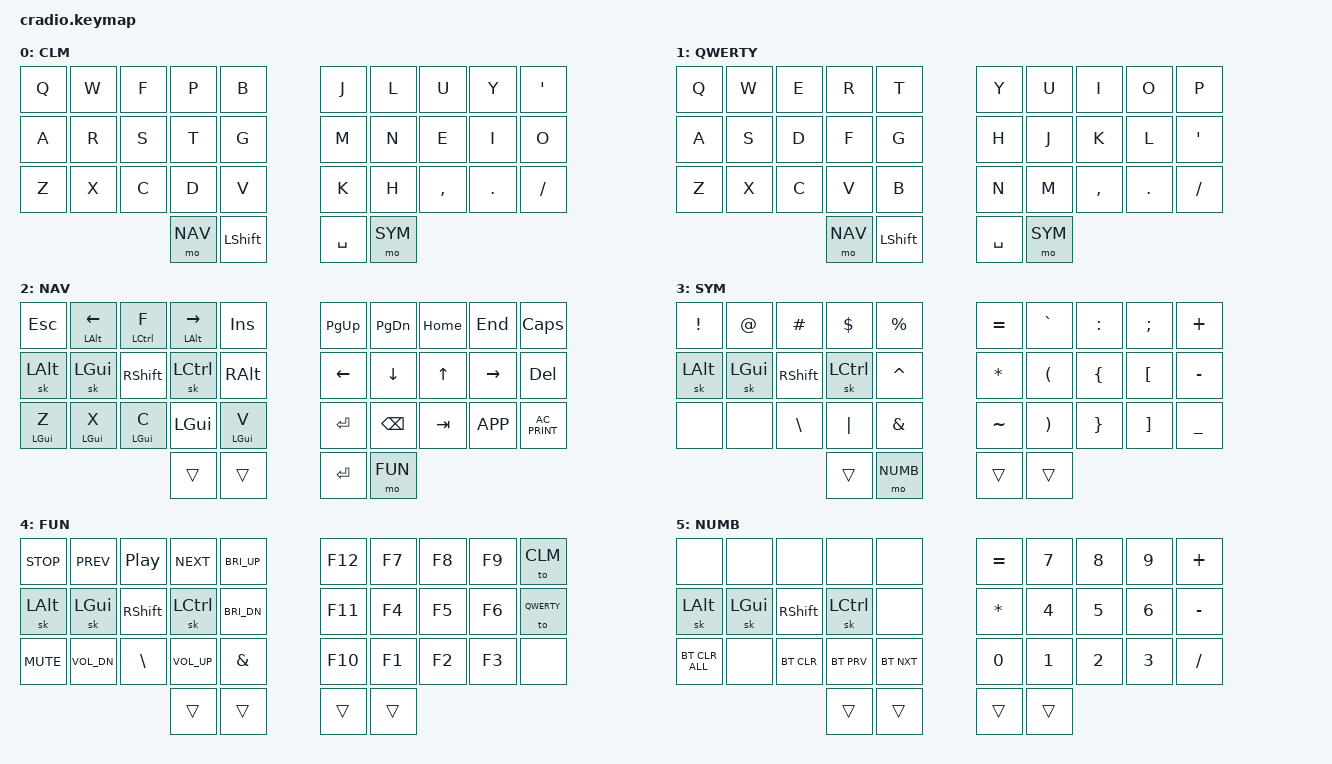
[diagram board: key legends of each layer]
/*
 * Copyright (c) 2020 The ZMK Contributors
 *
 * SPDX-License-Identifier: MIT
 *
 * Codes: https://zmk.dev/docs/codes
 */

#include <behaviors.dtsi>
#include <dt-bindings/zmk/keys.h>
#include <dt-bindings/zmk/bt.h>

// Layer aliases
#define CLM 0
#define QWERTY 1
#define NAV 2
#define SYM 3
#define FUN 4
#define NUMB 5





&mt {
  //  flavor = "tap-preferred";
   // tapping_term_ms = <200>;
};

/ { 
    behaviors {
        am: alpha_mods {
            compatible = "zmk,behavior-hold-tap";
            label = "ALPHA_MT";
            #binding-cells = <2>;
            tapping-term-ms = <250>;
            quick-tap-ms = <150>;
            flavor = "tap-preferred";
            bindings = <&kp>, <&kp>;
        };
    };
    combos {
        compatible = "zmk,combos";
        combo_esc {
            timeout-ms = <50>;
            key-positions = <0 1>;
            bindings = <&kp ESC>;
        };

         combo_tab {
            timeout-ms = <50>;
            key-positions = <10 11>;
            bindings = <&kp TAB>;
        };

            combo_ralt {
            timeout-ms = <50>;
            key-positions = <17 16>;
            bindings = <&kp RALT>;
        };

                    combo_lalt {
            timeout-ms = <50>;
            key-positions = <11 12>;
            bindings = <&kp LALT>;
        };

                           combo_lgui {
            timeout-ms = <50>;
            key-positions = <12 13>;
            bindings = <&kp LGUI>;
        };


           combo_rgui {
            timeout-ms = <50>;
            key-positions = <17 18>;
            bindings = <&kp RGUI>;
        };



    };

    keymap {
        compatible = "zmk,keymap";

        colemak_dh_layer {
            label = "CLM";
            bindings = <
        // ╭─────────────┬─────────────┬─────────────┬─────────────┬─────────────╮   ╭─────────────┬─────────────┬─────────────┬─────────────┬─────────────╮
                &kp Q       &kp W           &kp F       &kp P           &kp B 		&kp J           &kp L           &kp U         &kp Y     &kp SQT
        // ├─────────────┼─────────────┼─────────────┼─────────────┼─────────────┤   ├─────────────┼─────────────┼─────────────┼─────────────┼─────────────┤
                &kp A       &kp R           &kp S       &kp T           &kp G 		&kp M           &kp N           &kp E         &kp I     &kp O
        // ├─────────────┼─────────────┼─────────────┼─────────────┼─────────────┤   ├─────────────┼─────────────┼─────────────┼─────────────┼─────────────┤
                &kp Z      &kp X           &kp C       &kp D           &kp V		&kp K           &kp H        &kp COMMA       &kp DOT    &kp FSLH
        // ╰─────────────┴─────────────┴─────────────┼─────────────┼─────────────┤   ├─────────────┼─────────────┼─────────────┴─────────────┴─────────────╯
                                                        &mo NAV       &kp LSHIFT  	&kp SPC         &mo SYM
        //                                           ╰─────────────┴─────────────╯   ╰─────────────┴─────────────╯
            >;
        };

        qwerty_layer {
            label = "QWERTY";
            bindings = <
        // ╭─────────────┬─────────────┬─────────────┬─────────────┬─────────────╮   ╭─────────────┬─────────────┬─────────────┬─────────────┬─────────────╮
                &kp Q       &kp W           &kp E       &kp R           &kp T 		&kp Y           &kp U           &kp I         &kp O     &kp P
        // ├─────────────┼─────────────┼─────────────┼─────────────┼─────────────┤   ├─────────────┼─────────────┼─────────────┼─────────────┼─────────────┤
                &kp A       &kp S           &kp D       &kp F           &kp G 		&kp H           &kp J           &kp K         &kp L     &kp SQT
        // ├─────────────┼─────────────┼─────────────┼─────────────┼─────────────┤   ├─────────────┼─────────────┼─────────────┼─────────────┼─────────────┤
                &kp Z      &kp X           &kp C       &kp V           &kp B		&kp N           &kp M        &kp COMMA       &kp DOT    &kp FSLH
        // ╰─────────────┴─────────────┴─────────────┼─────────────┼─────────────┤   ├─────────────┼─────────────┼─────────────┴─────────────┴─────────────╯
                                                        &mo NAV        &kp LSHIFT  	&kp SPC         &mo SYM
        //                                           ╰─────────────┴─────────────╯   ╰─────────────┴─────────────╯
            >;
        };

        navigation_layer {
            label = "NAV";
            bindings = <
        // ╭─────────────┬─────────────┬─────────────┬─────────────┬─────────────╮   ╭─────────────┬─────────────┬─────────────┬─────────────┬─────────────╮
                &kp ESC   &am LALT LEFT  &am LCTRL F  &am LALT RIGHT   &kp INS 		&kp PG_UP      &kp PG_DN      &kp HOME      &kp END     &kp CAPS
        // ├─────────────┼─────────────┼─────────────┼─────────────┼─────────────┤   ├─────────────┼─────────────┼─────────────┼─────────────┼─────────────┤
                &sk LALT     &sk LGUI    &kp RSHIFT    &sk LCTL       &kp RALT 		&kp LEFT       &kp DOWN     &kp UP         &kp RIGHT     &kp DEL
        // ├─────────────┼─────────────┼─────────────┼─────────────┼─────────────┤   ├─────────────┼─────────────┼─────────────┼─────────────┼─────────────┤
              &am LGUI Z   &am LGUI X    &am LGUI C      &kp LGUI    &am LGUI V		&kp RET        &kp BSPC     &kp TAB       &kp K_APP   &kp C_AC_PRINT
        // ╰─────────────┴─────────────┴─────────────┼─────────────┼─────────────┤   ├─────────────┼─────────────┼─────────────┴─────────────┴─────────────╯
                                                        &trans          &trans    	&kp RET         &mo FUN
        //                                           ╰─────────────┴─────────────╯   ╰─────────────┴─────────────╯
            >;
        };

        symbols_layer {
            label = "SYM";
            bindings = <
        // ╭─────────────┬─────────────┬─────────────┬─────────────┬─────────────╮   ╭─────────────┬─────────────┬─────────────┬─────────────┬─────────────╮
                &kp EXCL    &kp AT          &kp HASH   &kp DLLR        &kp PRCNT 	&kp EQUAL      &kp GRAVE    &kp COLON      &kp SEMI     &kp PLUS
        // ├─────────────┼─────────────┼─────────────┼─────────────┼─────────────┤   ├─────────────┼─────────────┼─────────────┼─────────────┼─────────────┤
                &sk LALT      &sk LGUI    &kp RSHIFT    &sk LCTL       &kp CARET	&kp STAR       &kp LPAR     &kp LBRC       &kp LBKT     &kp MINUS
        // ├─────────────┼─────────────┼─────────────┼─────────────┼─────────────┤   ├─────────────┼─────────────┼─────────────┼─────────────┼─────────────┤
              &none             &none    &kp BSLH      &kp PIPE         &kp AMPS	&kp TILDE      &kp RPAR      &kp RBRC      &kp RBKT    &kp UNDER
        // ╰─────────────┴─────────────┴─────────────┼─────────────┼─────────────┤   ├─────────────┼─────────────┼─────────────┴─────────────┴─────────────╯
                                                        &trans          &mo NUMB    	&trans      &trans
        //                                           ╰─────────────┴─────────────╯   ╰─────────────┴─────────────╯
            >;
        };

        function_layer {
            label = "FUN";
            bindings = <
        // ╭─────────────┬─────────────┬─────────────┬─────────────┬─────────────╮   ╭─────────────┬─────────────┬─────────────┬─────────────┬─────────────╮
              &kp C_STOP    &kp C_PREV      &kp C_PP   &kp C_NEXT    &kp C_BRI_UP 	&kp F12      &kp F7         &kp F8          &kp F9      &to CLM
        // ├─────────────┼─────────────┼─────────────┼─────────────┼─────────────┤   ├─────────────┼─────────────┼─────────────┼─────────────┼─────────────┤
                &sk LALT      &sk LGUI    &kp RSHIFT    &sk LCTL     &kp C_BRI_DN	&kp F11       &kp F4        &kp F5          &kp F6      &to QWERTY
        // ├─────────────┼─────────────┼─────────────┼─────────────┼─────────────┤   ├─────────────┼─────────────┼─────────────┼─────────────┼─────────────┤
              &kp C_MUTE   &kp C_VOL_DN    &kp BSLH    &kp C_VOL_UP   &kp AMPS		&kp F10      &kp F1         &kp F2          &kp F3      &none
        // ╰─────────────┴─────────────┴─────────────┼─────────────┼─────────────┤   ├─────────────┼─────────────┼─────────────┴─────────────┴─────────────╯
                                                        &trans          &trans    	&trans         &trans
        //                                           ╰─────────────┴─────────────╯   ╰─────────────┴─────────────╯
            >;
        };

        num_layer {
            label = "NUMB";
            bindings = <
        // ╭─────────────┬─────────────┬─────────────┬─────────────┬─────────────╮   ╭─────────────┬─────────────┬─────────────┬─────────────┬─────────────╮
                &none           &none      &none        &none            &none 	        &kp EQUAL      &kp N7         &kp N8          &kp N9      &kp PLUS
        // ├─────────────┼─────────────┼─────────────┼─────────────┼─────────────┤   ├─────────────┼─────────────┼─────────────┼─────────────┼─────────────┤
                &sk LALT      &sk LGUI    &kp RSHIFT    &sk LCTL        &none		 &kp STAR       &kp N4        &kp N5          &kp N6      &kp MINUS
        // ├─────────────┼─────────────┼─────────────┼─────────────┼─────────────┤   ├─────────────┼─────────────┼─────────────┼─────────────┼─────────────┤
            &bt BT_CLR_ALL   &none       &bt BT_CLR    &bt BT_PRV    &bt BT_NXT		 &kp N0       &kp N1         &kp N2        &kp N3      &kp SLASH
        // ╰─────────────┴─────────────┴─────────────┼─────────────┼─────────────┤   ├─────────────┼─────────────┼─────────────┴─────────────┴─────────────╯
                                                        &trans          &trans    	&trans         &trans
        //                                           ╰─────────────┴─────────────╯   ╰─────────────┴─────────────╯
            >;
        };
	};
};
